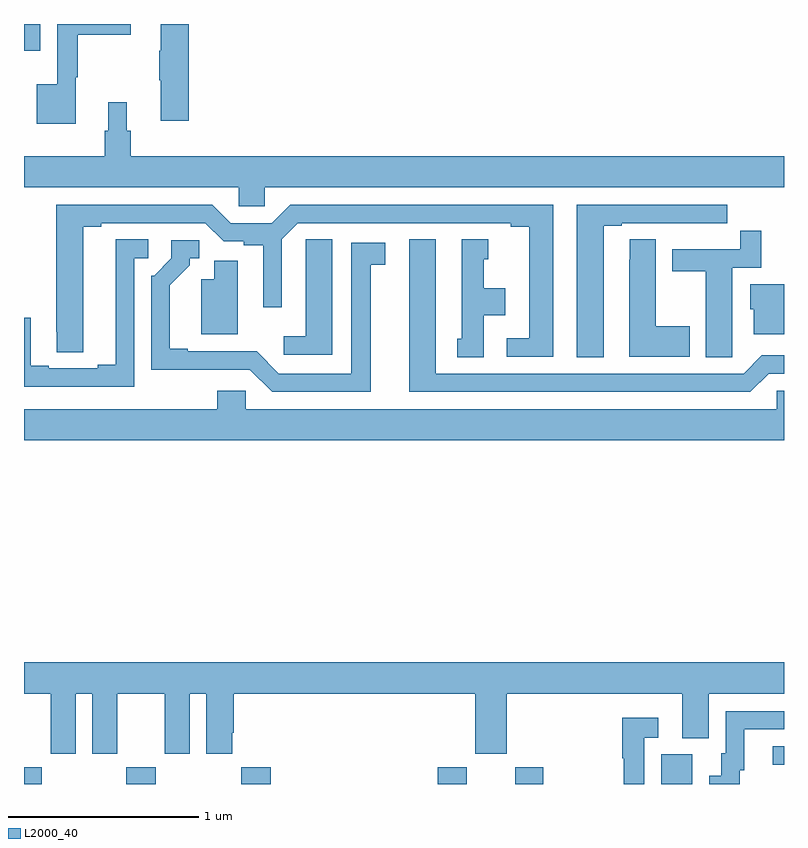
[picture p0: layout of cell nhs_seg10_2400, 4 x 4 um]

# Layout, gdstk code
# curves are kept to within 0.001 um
import gdstk
lib = gdstk.Library(unit=1e-6, precision=1e-09)
def R(c, l, rs):  # rectangles x0, y0, x1, y1
    for r in rs: c.add(gdstk.rectangle(r[:2], r[2:], *l))
def P(c, l, *ps):  # polygons
    for p in ps: c.add(gdstk.Polygon(p, *l))
L2000_40 = (2000, 40)

nhs_seg10_2400 = lib.new_cell('nhs_seg10_2400')
R(nhs_seg10_2400, L2000_40, [(239,1306.5,239.094,1306.588), (239.539,1306.5,239.694,1306.588), (240.143,1306.5,240.299,1306.588), (241.178,1306.5,241.33,1306.587), (241.586,1306.5,241.734,1306.587), (242.354,1306.5,242.518,1306.656), (242.94,1306.602,243,1306.698), (239,1310.358,239.085,1310.5)])
P(nhs_seg10_2400, L2000_40, [(239.867,1310.5),(239.72,1310.5),(239.72,1310.36),(239.713,1310.36),(239.713,1310.204),(239.72,1310.204),(239.72,1309.992),(239.867,1309.992)],
  [(239.272,1310.22),(239.284,1310.22),(239.284,1310.444),(239.563,1310.444),(239.563,1310.5),(239.175,1310.5),(239.175,1310.182),(239.066,1310.182),(239.066,1309.976),(239.272,1309.976)],
  [(240.267,1309.64),(243,1309.64),(243,1309.804),(239.561,1309.804),(239.561,1309.938),(239.542,1309.938),(239.542,1310.089),(239.444,1310.089),(239.444,1309.938),(239.425,1309.938),(239.425,1309.804),(239,1309.804),(239,1309.64),(240.129,1309.64),(240.129,1309.542),(240.267,1309.542)],
  [(242.05,1309.437),(242.146,1309.437),(242.146,1309.452),(242.422,1309.452),(242.422,1309.451),(242.588,1309.451),(242.588,1309.452),(242.701,1309.452),(242.701,1309.548),(241.91,1309.548),(241.91,1308.745),(242.05,1308.745)],
  [(241.786,1309.548),(240.401,1309.548),(240.305,1309.452),(240.087,1309.452),(239.991,1309.548),(239.171,1309.548),(239.172,1308.772),(239.311,1308.772),(239.311,1309.432),(239.407,1309.432),(239.407,1309.452),(239.955,1309.452),(240.051,1309.356),(240.156,1309.356),(240.156,1309.336),(240.26,1309.336),(240.26,1309.008),(240.357,1309.008),(240.357,1309.368),(240.441,1309.452),(241.562,1309.452),(241.562,1309.432),(241.658,1309.432),(241.658,1308.846),(241.542,1308.846),(241.542,1308.75),(241.786,1308.75)],
  [(242.727,1308.856),(242.728,1308.856),(242.728,1309.218),(242.879,1309.218),(242.879,1309.411),(242.77,1309.411),(242.77,1309.314),(242.411,1309.314),(242.411,1309.198),(242.588,1309.198),(242.588,1308.745),(242.727,1308.745)],
  [(240.622,1309.367),(240.483,1309.367),(240.483,1309.259),(240.482,1309.259),(240.482,1308.856),(240.366,1308.856),(240.366,1308.759),(240.622,1308.759)],
  [(239.58,1309.266),(239.653,1309.266),(239.653,1309.367),(239.483,1309.367),(239.483,1308.707),(239.387,1308.707),(239.387,1308.687),(239.131,1308.687),(239.131,1308.702),(239.035,1308.702),(239.035,1308.953),(239,1308.953),(239,1308.591),(239.58,1308.591)],
  [(242.503,1308.909),(242.326,1308.909),(242.326,1309.367),(242.187,1309.367),(242.187,1309.259),(242.186,1309.259),(242.186,1308.749),(242.503,1308.749)],
  [(241.42,1308.968),(241.534,1308.968),(241.534,1309.108),(241.42,1309.108),(241.42,1309.263),(241.444,1309.263),(241.444,1309.366),(241.304,1309.366),(241.304,1308.843),(241.28,1308.843),(241.28,1308.745),(241.42,1308.745)],
  [(242.919,1308.66),(243,1308.66),(243,1308.756),(242.883,1308.756),(242.787,1308.66),(241.168,1308.66),(241.168,1309.366),(241.028,1309.366),(241.028,1308.564),(242.823,1308.564)],
  [(240.826,1309.234),(240.901,1309.234),(240.901,1309.35),(240.722,1309.35),(240.722,1308.66),(240.342,1308.66),(240.225,1308.777),(239.863,1308.777),(239.863,1308.79),(239.767,1308.79),(239.767,1309.126),(239.872,1309.231),(239.872,1309.266),(239.922,1309.266),(239.922,1309.362),(239.775,1309.362),(239.775,1309.266),(239.685,1309.176),(239.67,1309.176),(239.67,1308.68),(240.189,1308.681),(240.306,1308.564),(240.826,1308.564)],
  [(240.124,1309.254),(240.002,1309.254),(240.002,1309.156),(239.933,1309.156),(239.933,1308.866),(240.124,1308.866)],
  [(243,1309.129),(242.822,1309.129),(242.822,1308.999),(242.84,1308.999),(242.84,1308.866),(243,1308.866)],
  [(243,1308.57),(242.961,1308.57),(242.961,1308.472),(240.168,1308.472),(240.168,1308.57),(240.017,1308.57),(240.017,1308.472),(239,1308.472),(239,1308.308),(243,1308.308)],
  [(239.272,1306.976),(239.36,1306.976),(239.36,1306.659),(239.491,1306.659),(239.491,1306.976),(239.741,1306.976),(239.741,1306.659),(239.872,1306.659),(239.872,1306.976),(239.96,1306.976),(239.96,1306.659),(240.097,1306.659),(240.097,1306.771),(240.104,1306.771),(240.104,1306.976),(241.376,1306.976),(241.376,1306.659),(241.54,1306.659),(241.54,1306.976),(242.465,1306.976),(242.465,1306.741),(242.605,1306.741),(242.605,1306.976),(243,1306.976),(243,1307.14),(239,1307.14),(239,1306.976),(239.141,1306.976),(239.141,1306.659),(239.272,1306.659)],
  [(242.767,1306.572),(242.791,1306.572),(242.791,1306.788),(243,1306.788),(243,1306.884),(242.694,1306.884),(242.694,1306.662),(242.669,1306.662),(242.669,1306.543),(242.606,1306.543),(242.606,1306.5),(242.767,1306.5)],
  [(242.265,1306.743),(242.338,1306.743),(242.338,1306.849),(242.149,1306.849),(242.149,1306.636),(242.157,1306.636),(242.157,1306.5),(242.265,1306.5)])

lib.write_gds('nhs_seg10_2400.gds')
